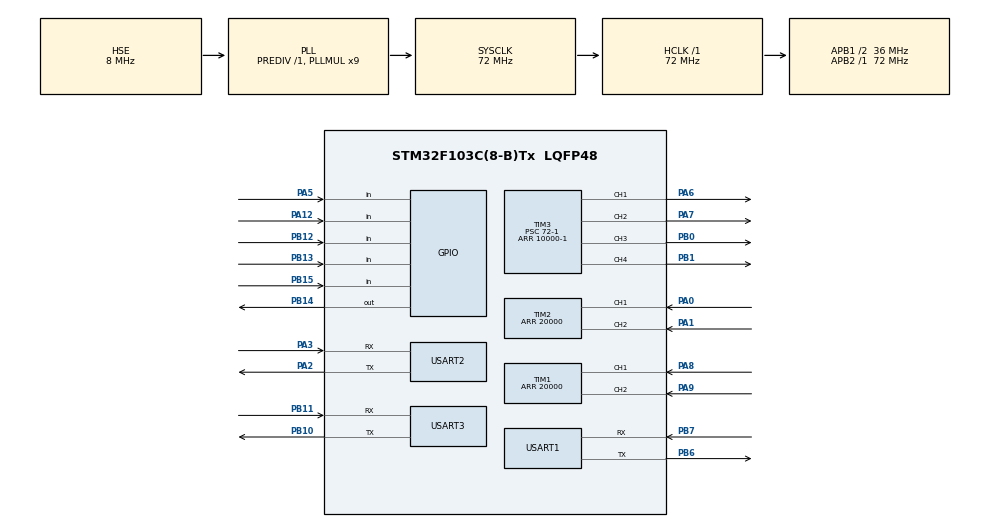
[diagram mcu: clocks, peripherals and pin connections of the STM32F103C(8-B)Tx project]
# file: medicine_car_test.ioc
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Dma.Request0=USART1_RX
Dma.Request1=USART3_RX
Dma.Request2=USART2_RX
Dma.USART1_RX.0.Direction=DMA_PERIPH_TO_MEMORY
Dma.USART1_RX.0.Instance=DMA1_Channel5
Dma.USART1_RX.0.MemDataAlignment=DMA_MDATAALIGN_BYTE
Dma.USART1_RX.0.MemInc=DMA_MINC_ENABLE
Dma.USART1_RX.0.Mode=DMA_NORMAL
Dma.USART1_RX.0.PeriphDataAlignment=DMA_PDATAALIGN_BYTE
Dma.USART1_RX.0.PeriphInc=DMA_PINC_DISABLE
Dma.USART1_RX.0.Priority=DMA_PRIORITY_LOW
Dma.USART2_RX.2.Direction=DMA_PERIPH_TO_MEMORY
Dma.USART2_RX.2.Instance=DMA1_Channel6
Dma.USART2_RX.2.MemDataAlignment=DMA_MDATAALIGN_BYTE
Dma.USART2_RX.2.MemInc=DMA_MINC_ENABLE
Dma.USART2_RX.2.Mode=DMA_NORMAL
Dma.USART2_RX.2.PeriphDataAlignment=DMA_PDATAALIGN_BYTE
Dma.USART2_RX.2.PeriphInc=DMA_PINC_DISABLE
Dma.USART2_RX.2.Priority=DMA_PRIORITY_LOW
Dma.USART3_RX.1.Direction=DMA_PERIPH_TO_MEMORY
Dma.USART3_RX.1.Instance=DMA1_Channel3
Dma.USART3_RX.1.MemDataAlignment=DMA_MDATAALIGN_BYTE
Dma.USART3_RX.1.MemInc=DMA_MINC_ENABLE
Dma.USART3_RX.1.Mode=DMA_NORMAL
Dma.USART3_RX.1.PeriphDataAlignment=DMA_PDATAALIGN_BYTE
Dma.USART3_RX.1.PeriphInc=DMA_PINC_DISABLE
Dma.USART3_RX.1.Priority=DMA_PRIORITY_LOW
Mcu.Family=STM32F1
Mcu.Name=STM32F103C(8-B)Tx
Mcu.Package=LQFP48
NVIC.DMA1_Channel3_IRQn=true\:0\:0\:false\:false\:true\:true\:true\:true
NVIC.DMA1_Channel5_IRQn=true\:0\:0\:false\:false\:true\:false\:true\:true
NVIC.DMA1_Channel6_IRQn=true\:0\:0\:false\:false\:true\:true\:true\:true
NVIC.PriorityGroup=NVIC_PRIORITYGROUP_4
NVIC.TIM2_IRQn=true\:0\:0\:true\:false\:true\:true\:true\:true
NVIC.TIM4_IRQn=true\:1\:0\:true\:false\:true\:true\:true\:true
NVIC.USART1_IRQn=true\:0\:0\:true\:false\:true\:true\:true\:true
NVIC.USART2_IRQn=true\:0\:0\:false\:false\:true\:true\:true\:true
NVIC.USART3_IRQn=true\:0\:0\:true\:false\:true\:true\:true\:true
PA0-WKUP.GPIO_PuPd=GPIO_PULLUP
PA0-WKUP.Signal=S_TIM2_CH1_ETR
PA1.GPIO_PuPd=GPIO_PULLUP
PA1.Signal=S_TIM2_CH2
PA12.GPIO_PuPd=GPIO_PULLUP
PA12.Signal=GPIO_Input
PA13.Mode=Serial_Wire
PA13.Signal=SYS_JTMS-SWDIO
PA14.Mode=Serial_Wire
PA14.Signal=SYS_JTCK-SWCLK
PA2.Mode=Asynchronous
PA2.Signal=USART2_TX
PA3.Mode=Asynchronous
PA3.Signal=USART2_RX
PA5.Signal=GPIO_Input
PA6.Signal=S_TIM3_CH1
PA7.Signal=S_TIM3_CH2
PA8.GPIO_PuPd=GPIO_PULLUP
PA8.Signal=S_TIM1_CH1
PA9.GPIO_PuPd=GPIO_PULLUP
PA9.Signal=S_TIM1_CH2
PB0.Signal=S_TIM3_CH3
PB1.Signal=S_TIM3_CH4
PB10.Mode=Asynchronous
PB10.Signal=USART3_TX
PB11.Mode=Asynchronous
PB11.Signal=USART3_RX
PB12.Signal=GPIO_Input
PB13.Signal=GPIO_Input
PB14.Signal=GPIO_Output
PB15.Signal=GPIO_Input
PB6.Mode=Asynchronous
PB6.Signal=USART1_TX
PB7.Mode=Asynchronous
PB7.Signal=USART1_RX
PD0-OSC_IN.Mode=HSE-External-Oscillator
PD0-OSC_IN.Signal=RCC_OSC_IN
PD1-OSC_OUT.Mode=HSE-External-Oscillator
PD1-OSC_OUT.Signal=RCC_OSC_OUT
ProjectManager.HeapSize=0x200
ProjectManager.StackSize=0x400
ProjectManager.TargetToolchain=MDK-ARM V5.32
RCC.AHBFreq_Value=72000000
RCC.APB1CLKDivider=RCC_HCLK_DIV2
RCC.APB1Freq_Value=36000000
RCC.APB1TimFreq_Value=72000000
RCC.APB2Freq_Value=72000000
RCC.APB2TimFreq_Value=72000000
RCC.HCLKFreq_Value=72000000
RCC.PLLMUL=RCC_PLL_MUL9
RCC.PLLSourceVirtual=RCC_PLLSOURCE_HSE
RCC.SYSCLKFreq_VALUE=72000000
RCC.SYSCLKSource=RCC_SYSCLKSOURCE_PLLCLK
RCC.USBFreq_Value=72000000
SH.S_TIM1_CH1.0=TIM1_CH1,Encoder_Interface
SH.S_TIM1_CH2.0=TIM1_CH2,Encoder_Interface
SH.S_TIM2_CH1_ETR.0=TIM2_CH1,Encoder_Interface
SH.S_TIM2_CH2.0=TIM2_CH2,Encoder_Interface
SH.S_TIM3_CH1.0=TIM3_CH1,PWM Generation1 CH1
SH.S_TIM3_CH2.0=TIM3_CH2,PWM Generation2 CH2
SH.S_TIM3_CH3.0=TIM3_CH3,PWM Generation3 CH3
SH.S_TIM3_CH4.0=TIM3_CH4,PWM Generation4 CH4
TIM1.EncoderMode=TIM_ENCODERMODE_TI12
TIM1.Period=20000
TIM2.EncoderMode=TIM_ENCODERMODE_TI12
TIM2.Period=20000
TIM3.AutoReloadPreload=TIM_AUTORELOAD_PRELOAD_DISABLE
TIM3.Channel-PWM\ Generation1\ CH1=TIM_CHANNEL_1
TIM3.Channel-PWM\ Generation2\ CH2=TIM_CHANNEL_2
TIM3.Channel-PWM\ Generation3\ CH3=TIM_CHANNEL_3
TIM3.Channel-PWM\ Generation4\ CH4=TIM_CHANNEL_4
TIM3.Period=10000-1
TIM3.Prescaler=72-1
TIM4.Period=10000
TIM4.Prescaler=720-1
USART1.VirtualMode=VM_ASYNC
USART2.VirtualMode=VM_ASYNC
USART3.VirtualMode=VM_ASYNC
VP_TIM3_VS_ClockSourceINT.Mode=Internal
VP_TIM4_VS_ClockSourceINT.Mode=Internal
board=custom

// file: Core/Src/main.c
/* USER CODE BEGIN Header */
/**
 ******************************************************************************
 * @file           : main.c
 * @brief          : Main program body
 ******************************************************************************
 * @attention
 *
 * Copyright (c) 2024 STMicroelectronics.
 * All rights reserved.
 *
 * This software is licensed under terms that can be found in the LICENSE file
 * in the root directory of this software component.
 * If no LICENSE file comes with this software, it is provided AS-IS.
 *
 ******************************************************************************
 */
/* USER CODE END Header */
#include "main.h"
#include "dma.h"
#include "tim.h"
#include "usart.h"
#include "gpio.h"

/* USER CODE BEGIN Includes */
#include "encoder.h"
#include <stdio.h>
#include "pid.h"
#include "led.h"
#include "medicine.h"
#include "string.h"
/* USER CODE END Includes */

/* USER CODE BEGIN PM */
// Motor motor1;
/* USER CODE END PM */

/* USER CODE BEGIN PV */
/////////////////////////////////////////////////////////////参数初始化//////////////////////////////////////////////////////////
float velocity_set = 1500;
Motor motor1, motor2; // 左右电机
// 对应接口B6(TX)，B7(RX)，一般用于蓝牙，树莓派的连接，(通信波特率：115200)
uint8_t receive_buff[50];
uint8_t USART1_buffer[50];

// 对应接口A2(TX)，A3(RX)，一般用于陀螺仪的连接，(通信波特率：115200)
uint8_t receive_buff_2[50];
uint8_t USART2_buffer[50];

// 对应接口B10(TX)，B11(RX)，一般用于显示屏的连接（现用于陀螺仪的角度读取），(通信波特率：115200)
uint8_t rx_buffer[50];
uint8_t USART3_buffer[50];

float foward_distance = 0;
float left_angle = 0;
float back_angle = 0;
float right_angle = 0;
float Target_Angle = 0;

int button_flag = 0;
int last_flag_button = 0;
int medicine_flag = 0;
int last_flag = 0;
// 是否开启位置环参数
int pos_pid_flag = 1;
// 复位901S的参数
int _901S_flag;
uint32_t count;

// angle_z从陀螺仪读到的参数
float angle_z = 0;
// 上一次的角度
float angle_z_last = 0;
// 整体的角度
float angle_z_all = 0;
// 旋转的圈数
int jy901_of_count = 0;
// 角度误差
float angle_error = 0;

char last_order;
int s1, s2, s3, s4; // 灰度传感器参

// 901S初始化指
uint8_t data1[] = {0xFF, 0xAA, 0x69, 0x88, 0xB5};
uint8_t data2[] = {0xFF, 0xAA, 0x01, 0x04, 0x00};
uint8_t data3[] = {0xFF, 0xAA, 0x00, 0x00, 0x00};

/* USER CODE END PV */

void SystemClock_Config(void);

/* USER CODE BEGIN 0 */
// 开启printf的使用，定位到串口2
int fputc(int ch, FILE *f) // printf
{
  HAL_UART_Transmit(&huart3, (uint8_t *)&ch, 1, 0xffff);
  return ch;
}

int fgetc(FILE *f) // getchar
{
  uint8_t ch = 0;
  HAL_UART_Receive(&huart1, &ch, 1, 0xffff);
  return ch;
}
/* USER CODE END 0 */

int main(void)
{

  /* MCU Configuration--------------------------------------------------------*/

  /* Reset of all peripherals, Initializes the Flash interface and the Systick. */
  HAL_Init();

  /* Configure the system clock */
  SystemClock_Config();

  /* Initialize all configured peripherals */
  MX_GPIO_Init();
  MX_TIM2_Init();
  MX_TIM3_Init();
  MX_TIM4_Init();
  MX_TIM1_Init();
  MX_DMA_Init();
  MX_USART1_UART_Init();
  MX_USART3_UART_Init();
  MX_USART2_UART_Init();
  /* USER CODE BEGIN 2 */
  // 上面一定注意，DMA的初始化一定要放在串口初始化的后面，否则会出现串口接收不到数据的情况
  Motor_Init();

  HAL_Delay(500);
  DMA_USART_Init(&huart1);
  DMA_USART_Init(&huart2);
  DMA_USART_Init(&huart3);
  pos_pid_flag = 1;
  HAL_Delay(1000);
  PID_Init();
  printf("OK Init\n");
  // 初始
  /* USER CODE END 2 */

  /* Infinite loop */
  while (1)
  {
    // HAL_UART_Transmit(&huart3,"FFFF",4,0xff);
    /* USER CODE BEGIN 3 */
    // 驱动32唯一的主程序，用于复位901S
    ///////////////////////////////////////////////////////////主函数////////////////////////////////////////////////////////
    if (_901S_flag)
    {
      // 因为此时陀螺仪暂时接到串口2，所以是往串口2发送复位信号
      HAL_UART_Transmit(&huart2, data1, sizeof(data1), 0xffff);
      HAL_Delay(200);
      HAL_UART_Transmit(&huart2, data2, sizeof(data2), 0xffff);
      HAL_Delay(3000);
      HAL_UART_Transmit(&huart2, data3, sizeof(data3), 0xffff);
      HAL_Delay(200);
      HAL_UART_Transmit(&huart1, "901S", 4, 0xffff);
      _901S_flag = 0;
    }
    // printf("OKOK\n");
  }
  /* USER CODE END 3 */
}

void SystemClock_Config(void)
{
  RCC_OscInitTypeDef RCC_OscInitStruct = {0};
  RCC_ClkInitTypeDef RCC_ClkInitStruct = {0};

  /** Initializes the RCC Oscillators according to the specified parameters
   * in the RCC_OscInitTypeDef structure.
   */
  RCC_OscInitStruct.OscillatorType = RCC_OSCILLATORTYPE_HSE;
  RCC_OscInitStruct.HSEState = RCC_HSE_ON;
  RCC_OscInitStruct.HSEPredivValue = RCC_HSE_PREDIV_DIV1;
  RCC_OscInitStruct.HSIState = RCC_HSI_ON;
  RCC_OscInitStruct.PLL.PLLState = RCC_PLL_ON;
  RCC_OscInitStruct.PLL.PLLSource = RCC_PLLSOURCE_HSE;
  RCC_OscInitStruct.PLL.PLLMUL = RCC_PLL_MUL9;
  if (HAL_RCC_OscConfig(&RCC_OscInitStruct) != HAL_OK)
  {
    Error_Handler();
  }
  /** Initializes the CPU, AHB and APB buses clocks
   */
  RCC_ClkInitStruct.ClockType = RCC_CLOCKTYPE_HCLK | RCC_CLOCKTYPE_SYSCLK | RCC_CLOCKTYPE_PCLK1 | RCC_CLOCKTYPE_PCLK2;
  RCC_ClkInitStruct.SYSCLKSource = RCC_SYSCLKSOURCE_PLLCLK;
  RCC_ClkInitStruct.AHBCLKDivider = RCC_SYSCLK_DIV1;
  RCC_ClkInitStruct.APB1CLKDivider = RCC_HCLK_DIV2;
  RCC_ClkInitStruct.APB2CLKDivider = RCC_HCLK_DIV1;

  if (HAL_RCC_ClockConfig(&RCC_ClkInitStruct, FLASH_LATENCY_2) != HAL_OK)
  {
    Error_Handler();
  }
}

/* USER CODE BEGIN 4 */

/// @brief 串口1（树莓派或电脑）信息处理
/// @param buffer

// bad_order用来记录之前的不完整命令，0表示没有不完整命令，1表示有不完整命令
uint8_t bad_order = 0;
uint8_t bad_begin = 0;
uint8_t buffer1[4];

void chelk_buffer(uint8_t *buffer)
{
  // 首先判断之前是否有不完整指令
  if (bad_order == 0)
  {
    // 此时没有不完整指令，接下来判断这一条指令是否完整
    if (buffer[3] == 00)
    {
      // 进入这里说明这一条指令为不完整指令
      bad_order = 1;
      for (int i = 0; i < 4; i++)
      {
        if (buffer[i] != 00)
        {
          // 这一位还是正常的
          buffer1[i] = buffer[i];
        }
        else
        {
          // 这一位是不对的
          bad_begin = i;
          break;
        }
      }
    }
    else
    {
      // 进入这里说明这一条指令为完整指令
      bad_order = 0;
    }
  }
  // 这里就说明已经存在不完整指令
  else
  {
    // 此时我们需要将两条指令拼接起来
    for (int i = bad_begin; i < 4; i++)
    {
      buffer1[i] = buffer[i - bad_begin];
    }
    // 结束后将buffer设为新的buffer1
    for (int i = 0; i < 4; i++)
    {
      buffer[i] = buffer1[i];
    }
    bad_order = 0;
    bad_begin = 0;
  }
}

// 串口中断处理函数
// 串口中断处理函数
// 串口中断处理函数
// 串口中断处理函数
// 串口中断处理函数
// 串口中断处理函数
// 串口中断处理函数
// 串口中断处理函数
// 串口中断处理函数
// 串口中断处理函数
// 串口中断处理函数
// 串口中断处理函数
// 串口中断处理函数
// 串口中断处理函数
// 串口中断处理函数
// 串口中断处理函数
// 串口中断处理函数
// 串口中断处理函数
// 串口中断处理函数
// 串口中断处理函数
// 串口中断处理函数
// 串口中断处理函数
// 串口中断处理函数
// 串口中断处理函数
// 串口中断处理函数
// 串口中断处理函数
// 串口中断处理函数
// 串口中断处理函数
// 串口中断处理函数
// 串口中断处理函数
// 串口中断处理函数

/// @brief ////////////////////////////////////////////串口1中断处理函数/////////////////////////////////////////////////
// 对应接口B6(TX)，B7(RX)，一般用于蓝牙，树莓派的连接，(通信波特率：115200)
/// @param buffer
void buffer_hadle_USART1(uint8_t *buffer)
{
  // 首先需要判断这个指令是否为完整指令
  chelk_buffer(buffer);
  if (bad_order == 0)
  {
    // 将收到的命令从这里打回去
    HAL_UART_Transmit(&huart1, "urt1", 4, 0xff);
    HAL_UART_Transmit(&huart1, buffer, 4, 0xff);
    if ((buffer[0] == 'N') && (buffer[1] == 'O') && (buffer[2] == 'N') && (buffer[3] == 'O')) // NONO
    {
      led2_off();
    }
    else if ((buffer[0] == 'R') && (buffer[1] == 'S') && (buffer[2] == 'E') && (buffer[3] == 'T')) // RSET
    {
      NVIC_SystemReset(); // 复位函数
    }
    else if ((buffer[0] == '9') && (buffer[1] == '0') && (buffer[2] == '1') && (buffer[3] == 'S')) // 901S角度初始
    {
      _901S_flag = 1;
    }
    else if ((buffer[0] == 'O') && (buffer[1] == 'K') && (buffer[2] == 'O') && (buffer[3] == 'K')) // OKOK
    {
      led1_on();
    }
    else if ((buffer[0] == 'O') && (buffer[1] == 'F') && (buffer[2] == 'F') && (buffer[3] == 'F')) //
    {
      led1_off();
    }
    else if ((buffer[0] == 'G') && (buffer[1] == 'O') && (buffer[2] == 'O') && (buffer[3] == 'D')) // GOOD
    {
      led2_on();
    }
    else if ((buffer[0] == 'S') && (buffer[1] == 'T') && (buffer[2] == 'O') && (buffer[3] == 'P')) // OKOK
    {
      Target_Speed_1 = 0;
      Target_Speed_2 = 0;
      Target_Speed_fixed_2 = 0;
      Target_Speed_fixed_1 = 0;
    }
    else
    {
      switch (buffer[0])
      {
      case 'L': // 左转
        // printf("jinruLcas\n");
        pos_pid_flag = 0;
        // pid_speed_1.integral = 0;
        // pid_speed_2.integral = 0;
        if (buffer[1] == '+')
        {
          left_angle = (buffer[2] - '0') * 10 + (buffer[3] - '0');
        }
        else if (receive_buff[1] == '-')
        {
          left_angle = -(buffer[2] - '0') * 10 - (buffer[3] - '0');
        }
        // Target_Position_1 -= left_angle*5;
        // Target_Position_2 -= left_angle*5;
        Target_Angle += left_angle;
        last_order = 'L';
        break;
      case 'R': // 右转
        pos_pid_flag = 0;
        // pid_speed_1.integral = 0;
        // pid_speed_2.integral = 0;
        if (buffer[1] == '+')
        {
          right_angle = (buffer[2] - '0') * 10 + (buffer[3] - '0');
        }
        else if (buffer[1] == '-')
        {
          right_angle = -(buffer[2] - '0') * 10 - (buffer[3] - '0');
        }
        // Target_Position_1 += right_angle*5;
        // Target_Position_2 += right_angle*5;
        Target_Angle -= right_angle;
        last_order = 'R';
        break;
      case 'V': // 前进
        if (buffer[1] == '+')
        {
          // printf("V function\n");
          pos_pid_flag = 0;
          velocity_set = (buffer[2] - '0') * 100 + (buffer[3] - '0') * 10 + (buffer[4] - '0');
          Target_Speed_1 = velocity_set;
          Target_Speed_2 = velocity_set;
          Target_Speed_fixed_2 = 0;
          Target_Speed_fixed_1 = 0;
        }
        else if (buffer[1] == '-')
        {
          pos_pid_flag = 0;
          velocity_set = (buffer[2] - '0') * 100 + (buffer[3] - '0') * 10 + (buffer[4] - '0');
          Target_Speed_1 = -velocity_set;
          Target_Speed_2 = -velocity_set;
          Target_Speed_fixed_2 = 0;
          Target_Speed_fixed_1 = 0;
        }
        last_order = 'V';
        break;
      case 'F':
        // HAL_UART_Transmit(&huart1,"FFFF",4,0xff);
        Target_Speed_1 = 0;
        Target_Speed_2 = 0;
        // pid_speed_1.integral = 0;
        // pid_speed_2.integral = 0;
        Target_Speed_fixed_1 = 0;
        Target_Speed_fixed_2 = 0;
        Target_Angle = angle_z_all;
        angle_error = 0;
        pos_pid_flag = 1;
        velocity_set = (buffer[2] - '0') * 10 + (buffer[3] - '0');
        motor_foward(velocity_set, 0);
        _901S_flag = 1;
        last_order = 'F';
        break;
      }
    }
  }
}

// /// @brief 串口2信号处理（串口屏或陀螺仪/////////////////////////////////////////////////////////////////////////////////////
// 对应接口A2(TX)，A3(RX)，一般用于陀螺仪的连接，(通信波特率：115200)
void buffer_hadle_USART2(uint8_t *buffer)
{
  // 测试程序，将受到的东西打回去
  // HAL_UART_Transmit(&huart2, "urt2", 4, 0xff);
  // HAL_UART_Transmit(&huart2, buffer, 4, 0xff);

  if (buffer[0] == 85 && buffer[1] == 83)
  {
    angle_z = (float)((buffer[7] << 8) | buffer[6]) / 32768.0 * 180.0;
  }
  if (angle_z > 300 && angle_z_last < 50)
  {
    jy901_of_count--;
  }
  else if (angle_z < 50 && angle_z_last > 300)
  {
    jy901_of_count++;
  }
  angle_z_all = angle_z + jy901_of_count * 360;
  angle_z_last = angle_z;
  angle_error = angle_z_all - Target_Angle;
  // 调节角度环的时候开始，分别为目标位置，实际角度减去目标角度
  printf("%.2f,%.2f,%.2f\n", angle_z_all, Target_Angle, angle_error);
  // printf("angle:%.2f  ",angle_z_all);
  // printf("Target_angle:%.2f\n",Target_Angle);
  // printf("error:%.2f\n",angle_error);

  if ((last_order == 'L') || (last_order == 'R'))
  {
    // printf("L+90");
    pos_pid_flag = 0;
    Target_Position_1 = Now_Position_1;
    Target_Position_2 = Now_Position_2;
    Target_Speed_1 = 0;
    Target_Speed_2 = 0;
    Target_Speed_fixed_1 = Angle_PID_Realize(&pid_angle, angle_error);
    Target_Speed_fixed_2 = -Target_Speed_fixed_1;
  }
  else
  {
    Target_Speed_fixed_1 = 0;
    Target_Speed_fixed_2 = 0;
    Target_Angle = angle_z_all;
    pos_pid_flag = 1;
  }
}
/// @brief 串口3信号处理（串口屏或陀螺仪)/////////////////////////////////////////////////////////////////////////////////////
// 对应接口B10(TX)，B11(RX)，一般用于显示屏的连接（现用于陀螺仪的角度读取），(通信波特率：115200)
/// @param buffer
void buffer_hadle_USART3(uint8_t *buffer)
{
  // 测试程序，将受到的东西打回去
  HAL_UART_Transmit(&huart3, "urt3", 4, 0xff);
  HAL_UART_Transmit(&huart3, buffer, 4, 0xff);
}

// 下面的函数能正常使用，千万不要再去修改
// 下面的函数能正常使用，千万不要再去修改
// 下面的函数能正常使用，千万不要再去修改
// 下面的函数能正常使用，千万不要再去修改
// 下面的函数能正常使用，千万不要再去修改
// 下面的函数能正常使用，千万不要再去修改
// 下面的函数能正常使用，千万不要再去修改
// 下面的函数能正常使用，千万不要再去修改
// 下面的函数能正常使用，千万不要再去修改
// 下面的函数能正常使用，千万不要再去修改
// 下面的函数能正常使用，千万不要再去修改
// 下面的函数能正常使用，千万不要再去修改
// 下面的函数能正常使用，千万不要再去修改
// 下面的函数能正常使用，千万不要再去修改
// 下面的函数能正常使用，千万不要再去修改
// 下面的函数能正常使用，千万不要再去修改
// 下面的函数能正常使用，千万不要再去修改
// 下面的函数能正常使用，千万不要再去修改
// 下面的函数能正常使用，千万不要再去修改
// 下面的函数能正常使用，千万不要再去修改
// 下面的函数能正常使用，千万不要再去修改
// 下面的函数能正常使用，千万不要再去修改
// 下面的函数能正常使用，千万不要再去修改
// 下面的函数能正常使用，千万不要再去修改
// 下面的函数能正常使用，千万不要再去修改
// 下面的函数能正常使用，千万不要再去修改
// 下面的函数能正常使用，千万不要再去修改
// 下面的函数能正常使用，千万不要再去修改
// 下面的函数能正常使用，千万不要再去修改
// 下面的函数能正常使用，千万不要再去修改
// 下面的函数能正常使用，千万不要再去修改
// 下面的函数能正常使用，千万不要再去修改
// 下面的函数能正常使用，千万不要再去修改
// 下面的函数能正常使用，千万不要再去修改
// 下面的函数能正常使用，千万不要再去修改
// 下面的函数能正常使用，千万不要再去修改
// 下面的函数能正常使用，千万不要再去修改
// 下面的函数能正常使用，千万不要再去修改
// 下面的函数能正常使用，千万不要再去修改

void DMA_USART_Init(UART_HandleTypeDef *huart)
{
  if (huart->Instance == USART1)
  {
    __HAL_UART_ENABLE_IT(huart, UART_IT_IDLE);
    HAL_UART_Receive_DMA(huart, receive_buff, 50);
  }

  if (huart->Instance == USART2)
  {
    __HAL_UART_ENABLE_IT(huart, UART_IT_IDLE);
    HAL_UART_Receive_DMA(huart, receive_buff_2, 50);
  }

  if (huart->Instance == USART3)
  {
    __HAL_UART_ENABLE_IT(huart, UART_IT_IDLE);
    HAL_UART_Receive_DMA(huart, rx_buffer, 50);
  }
}

void USAR_UART_IDLECallback(UART_HandleTypeDef *huart)
{
  if (huart->Instance == USART1)
  {
    // 停止本次DMA传输
    HAL_UART_DMAStop(huart);

    // 计算接收到的数据长度
    uint8_t data_length = 50 - __HAL_DMA_GET_COUNTER(&hdma_usart1_rx);

    // 测试函数：将接收到的数据打印出去
    // printf("Receive Data(length = %d): ",data_length);
    //    HAL_UART_Transmit(huart,receive_Buff,data_length,0x200);
    // 把接收缓冲中的数据复制到处理缓冲
    memcpy(USART1_buffer, receive_buff, 50);
    // printf("%s\r\n",receive_buff);
    buffer_hadle_USART1(USART1_buffer);
    // 清零接收缓冲
    memset(receive_buff, 0, data_length);
    data_length = 0;

    // 重启始DMA传输 每次255字节数据
    HAL_UART_Receive_DMA(huart, (uint8_t *)receive_buff, 50);
  }

  if (huart->Instance == USART2)
  {
    // 停止本次DMA传输
    HAL_UART_DMAStop(huart);

    // 计算接收到的数据长度
    uint8_t data_length = 50 - __HAL_DMA_GET_COUNTER(&hdma_usart2_rx);

    // 测试函数：将接收到的数据打印出去
    // printf("Receive Data(length = %d): ",data_length);
    //    HAL_UART_Transmit(huart,receive_Buff,data_length,0x200);
    // 把接收缓冲中的数据复制到处理缓冲
    memcpy(USART2_buffer, receive_buff_2, 50);
    buffer_hadle_USART2(USART2_buffer);
    // 清零接收缓冲
    memset(receive_buff_2, 0, data_length);
    data_length = 0;

    // 重启始DMA传输 每次255字节数据
    HAL_UART_Receive_DMA(huart, (uint8_t *)receive_buff_2, 50);
  }

  if (huart->Instance == USART3)
  {
    //    led_Big.LED_Flip();
    // 停止本次DMA传输
    HAL_UART_DMAStop(huart);

    // 计算接收到的数据长度
    uint8_t data_length = 50 - __HAL_DMA_GET_COUNTER(&hdma_usart3_rx);

    // 测试函数：将接收到的数据打印出去
    // printf("Receive Data(length = %d): ",data_length);
    //    HAL_UART_Transmit(huart,rx_buffer,data_length,0x200);
    // 把接收缓冲中的数据复制到处理缓冲
    memcpy(USART3_buffer, rx_buffer, 50);
    // printf("%s",rx_buffer);
    buffer_hadle_USART3(USART3_buffer);
    // 清零接收缓冲
    memset(rx_buffer, 0, data_length);
    data_length = 0;

    // 重启始DMA传输 每次255字节数据
    HAL_UART_Receive_DMA(huart, (uint8_t *)rx_buffer, 50);
  }
}

/*
 * 蓝牙串口回调函数，需要放到stm32f4xx_it.c
 */
void Bluetooth_UART_IRQHandler(UART_HandleTypeDef *huart)
{ // 判断是否是串1
  if (huart->Instance == USART1)
  { // 判断是否是空闲中
    if (RESET != __HAL_UART_GET_FLAG(huart, UART_FLAG_IDLE))
    { // 清除空闲中断标志（否则会直不断进入中断）
      __HAL_UART_CLEAR_IDLEFLAG(huart);
      // 调用中断处理函数
      USAR_UART_IDLECallback(&huart1);
    }
  }

  if (huart->Instance == USART2)
  { // 判断是否是空闲中
    if (RESET != __HAL_UART_GET_FLAG(huart, UART_FLAG_IDLE))
    { // 清除空闲中断标志（否则会直不断进入中断）
      __HAL_UART_CLEAR_IDLEFLAG(huart);
      // 调用中断处理函数
      USAR_UART_IDLECallback(&huart2);
    }
  }

  if (huart->Instance == USART3)
  { // 判断是否是空闲中
    if (RESET != __HAL_UART_GET_FLAG(huart, UART_FLAG_IDLE))
    { // 清除空闲中断标志（否则会直不断进入中断）
      __HAL_UART_CLEAR_IDLEFLAG(huart);
      // 调用中断处理函数
      USAR_UART_IDLECallback(&huart3);
    }
  }
}
/* USER CODE END 4 */

void Error_Handler(void)
{
  __disable_irq();
  while (1)
  {
  }
}
